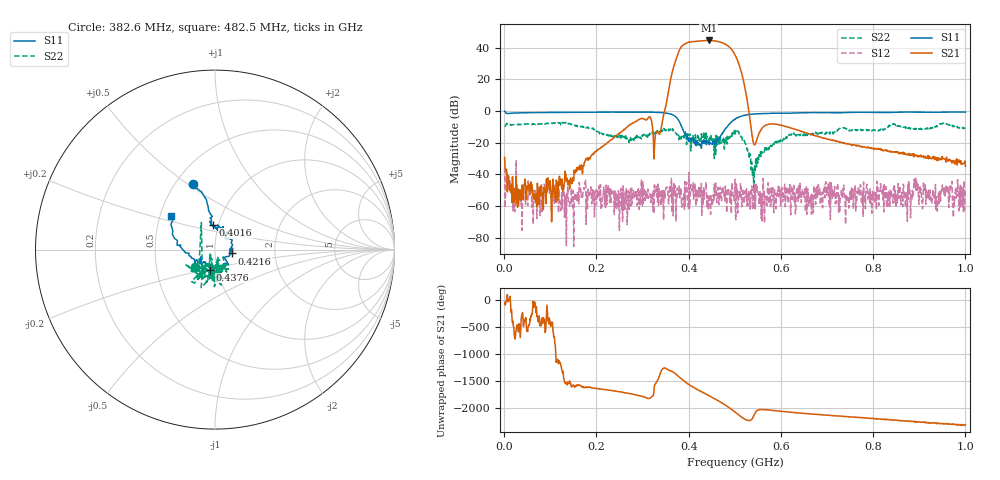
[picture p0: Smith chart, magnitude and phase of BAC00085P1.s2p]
!measured: 2026-10-29T11:13:15
!cal_instance: BB
!cal_created: 2026-10-29T10:46
!cal_file: SOLT_12_1_00M-1_00G_1001pt.cal
!port1_delay_ps: 0.0
!port2_delay_ps: 0.0
!host: lindon
! Created with skrf 2.1.0 (http://scikit-rf.org).
# Hz S RI R 50.0
!freq ReS11 ImS11 ReS21 ImS21 ReS12 ImS12 ReS22 ImS22
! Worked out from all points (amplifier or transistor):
!   1001 points, 1 MHz to 1 GHz, reference 50 ohm
!   highest |S21| = 44.6 dB at 443.6 MHz (marker M1)
!   |S21| within 3 dB of that: 387.4 MHz to 483.1 MHz (95.65 MHz wide, 22 % of centre)
!   unconditionally stable (mu >= 1): start of sweep to 400.4 MHz; 437.7 MHz to 500.5 MHz; 500.5 MHz to end of sweep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
!   at 166.8 MHz: K = 2360.19, MAG = -26.9 dB, |S12| = -54.6 dB
!   at 500.5 MHz: K = 0.99, MSG = 39.4 dB, |S12| = -43.2 dB
!   at 1 GHz: K = 1651.49, MAG = -26.2 dB, |S12| = -52.9 dB
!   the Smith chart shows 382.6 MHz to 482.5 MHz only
!   S11 on the Smith chart (normalised r, x): 382.6 MHz: 0.61, +0.53; 401.6 MHz: 0.94, +0.26; 421.6 MHz: 1.21, -0.05; 437.6 MHz: 0.92, -0.21; 482.5 MHz: 0.57, +0.23
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1000000  -0.227 0.955  0.0202 -0.0275  -0.00155 0.0161  0.3174 -0.0413
1.67833e8  0.5832 -0.6953  -0.019 -0.00475  0.000997 0.00196  0.0115 -0.3178
3.34666e8  -0.7199 -0.5425  0.1929 -0.0354  -0.000576 -0.000853  0.0658 -0.1981
3.66634e8  -0.6867 0.2776  -5.474 21.58  -0.000485 -1.16e-05  -0.0544 -0.239
3.75625e8  -0.3623 0.4451  41.39 39.59  0.00369 2.49e-05  -0.0947 -0.1562
3.82618e8  -0.1214 0.3656  98.54 -12.86  0.00298 -0.000555  -0.1113 -0.0979
3.92608e8  -0.0236 0.1789  31.79 -129  -0.000111 -0.000994  -0.0917 -0.1375
4.01599e8  -0.0127 0.1368  -95.91 -116  0.000829 -0.000166  -0.0698 -0.1537
4.11589e8  0.0509 0.084  -156.3 3.141  -0.00158 -0.00137  0.00104 -0.1249
4.21579e8  0.0937 -0.0217  -108.4 119.6  0.000664 -0.00364  0.022 -0.1493
4.37563e8  -0.0296 -0.1112  82.59 147  0.00144 -0.00558  -0.077 -0.2118
4.43557e8  -0.0223 -0.0915  140.5 94.17  -0.00142 0.00125  0.03 -0.1356
4.53547e8  -0.0762 -0.0786  162.1 -34.72  0.00209 0.000859  -0.0196 -0.1267
4.65535e8  -0.1323 -0.046  55.46 -143.7  0.00109 0.000224  0.00374 -0.0817
4.73527e8  -0.1905 0.0257  -46.19 -133.4  0.00149 -0.00331  0.0255 -0.1272
4.82518e8  -0.2454 0.1847  -112.2 -45.49  0.000136 0.000595  0.0219 -0.1041
4.92508e8  -0.1586 0.4145  -70.48 55.99  0.000375 -0.000429  -0.0259 -0.1378
5.005e8  0.00956 0.5382  0.8788 59.28  0.00238 -0.00645  -0.1154 -0.1467
5.19481e8  0.4986 0.5226  7.049 -4.129  0.00025 0.0027  -0.1203 -0.0432
6.67333e8  0.4565 -0.7595  0.1089 0.1384  -0.000285 0.0024  0.1267 -0.1476
8.34166e8  -0.1041 -0.8916  0.0349 -0.0403  0.00214 0.00107  0.00795 -0.3556
1e9  -0.4823 -0.7882  -0.0153 -0.0094  0.00227 8.4e-05  -0.0733 -0.27
